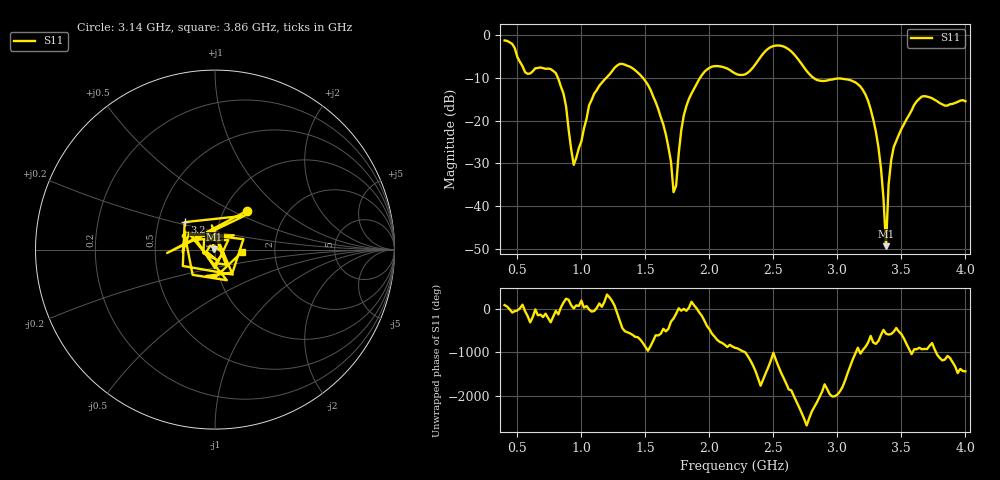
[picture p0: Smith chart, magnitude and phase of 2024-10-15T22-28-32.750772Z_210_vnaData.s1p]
! Created with skrf (http://scikit-rf.org).
# Hz S RI R 50.0
!freq ReS11 ImS11
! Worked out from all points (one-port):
!   181 points, 400 MHz to 4 GHz, reference 50 ohm
!   lowest |S11| = -49.4 dB at 3.38 GHz (marker M1), VSWR 1.01, Z = 49.7 + j0.178 ohm
!   |S11| at or under -10 dB: 817.1 MHz to 1.193 GHz (376.2 MHz wide, 37.4 % of centre); 1.481 GHz to 1.926 GHz (445 MHz wide, 26.1 % of centre); 2.815 GHz to end of sweep
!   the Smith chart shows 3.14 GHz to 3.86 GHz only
!   S11 on the Smith chart (normalised r, x): 3.14 GHz: 1.28, +0.60; 3.2 GHz: 0.68, +0.22; 3.86 GHz: 1.35, -0.04
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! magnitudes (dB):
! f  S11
! 400 MHz  -1.2
! 800 MHz  -8.8
! 860 MHz  -13.7
! 940 MHz  -30.4
! 1.1 GHz  -13.7
! 1.3 GHz  -6.7
! 1.54 GHz  -12.8
! 1.66 GHz  -23.3
! 1.72 GHz  -36.8
! 1.76 GHz  -27.7
! 1.82 GHz  -16.6
! 1.94 GHz  -9.4
! 2.2 GHz  -8.9
! 2.5 GHz  -2.5
! 2.66 GHz  -4.4
! 2.84 GHz  -10.5
! 3.1 GHz  -10.5
! 3.14 GHz  -11.0
! 3.2 GHz  -12.8
! 3.32 GHz  -26.1
! 3.36 GHz  -38.2
! 3.38 GHz  -49.4
! 3.4 GHz  -34.9
! 3.42 GHz  -29.3
! 3.56 GHz  -18.7
! 3.66 GHz  -14.3
! 3.86 GHz  -16.5
! 4 GHz  -15.5
